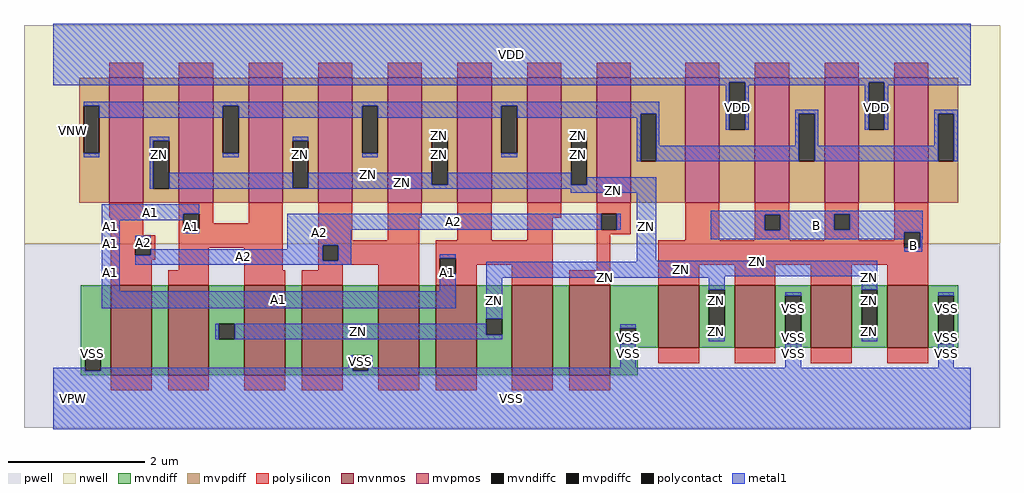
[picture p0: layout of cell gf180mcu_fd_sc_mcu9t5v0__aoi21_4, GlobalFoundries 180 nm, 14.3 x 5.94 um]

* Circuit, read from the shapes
.subckt gf180mcu_fd_sc_mcu9t5v0__aoi21_4 A1 A2 B ZN VDD VNW VPW VSS
XM1 n1 A2 VSS VPW nfet_06v0 w=1.32u l=0.6u
XM2 ZN A1 n1 VPW nfet_06v0 w=1.32u l=0.6u
XM3 n2 A1 ZN VPW nfet_06v0 w=1.32u l=0.6u
XM4 VSS A2 n2 VPW nfet_06v0 w=1.32u l=0.6u
XM5 n3 A2 VSS VPW nfet_06v0 w=1.32u l=0.6u
XM6 ZN A1 n3 VPW nfet_06v0 w=1.32u l=0.6u
XM7 n4 A1 ZN VPW nfet_06v0 w=1.32u l=0.6u
XM8 VSS A2 n4 VPW nfet_06v0 w=1.32u l=0.6u
XM9 ZN B VSS VPW nfet_06v0 w=0.92u l=0.6u m=4
XM10 ZN A2 n5 VNW pfet_06v0 w=1.83u l=0.5u m=4
XM11 n5 A1 ZN VNW pfet_06v0 w=1.83u l=0.5u m=4
XM12 VDD B n5 VNW pfet_06v0 w=1.83u l=0.5u m=4
.ends

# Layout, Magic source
magic
tech gf180mcuD
magscale 1 10
<< nwell >>
rect -86 453 2774 1094
<< pwell >>
rect -86 -86 2774 453
<< mvnmos >>
rect 168 68 288 332
rect 336 68 456 332
rect 560 68 680 332
rect 728 68 848 332
rect 952 68 1072 332
rect 1120 68 1240 332
rect 1344 68 1464 332
rect 1512 68 1632 332
rect 1772 148 1892 332
rect 1996 148 2116 332
rect 2220 148 2340 332
rect 2444 148 2564 332
<< mvpmos >>
rect 164 574 264 940
rect 368 574 468 940
rect 572 574 672 940
rect 776 574 876 940
rect 980 574 1080 940
rect 1184 574 1284 940
rect 1388 574 1488 940
rect 1592 574 1692 940
rect 1852 574 1952 940
rect 2056 574 2156 940
rect 2260 574 2360 940
rect 2464 574 2564 940
<< mvndiff >>
rect 80 127 168 332
rect 80 81 93 127
rect 139 81 168 127
rect 80 68 168 81
rect 288 68 336 332
rect 456 219 560 332
rect 456 173 485 219
rect 531 173 560 219
rect 456 68 560 173
rect 680 68 728 332
rect 848 127 952 332
rect 848 81 877 127
rect 923 81 952 127
rect 848 68 952 81
rect 1072 68 1120 332
rect 1240 233 1344 332
rect 1240 187 1269 233
rect 1315 187 1344 233
rect 1240 68 1344 187
rect 1464 68 1512 332
rect 1632 206 1772 332
rect 1632 160 1661 206
rect 1707 160 1772 206
rect 1632 148 1772 160
rect 1892 319 1996 332
rect 1892 179 1921 319
rect 1967 179 1996 319
rect 1892 148 1996 179
rect 2116 301 2220 332
rect 2116 161 2145 301
rect 2191 161 2220 301
rect 2116 148 2220 161
rect 2340 319 2444 332
rect 2340 179 2369 319
rect 2415 179 2444 319
rect 2340 148 2444 179
rect 2564 301 2652 332
rect 2564 161 2593 301
rect 2639 161 2652 301
rect 2564 148 2652 161
rect 1632 68 1712 148
<< mvpdiff >>
rect 76 858 164 940
rect 76 718 89 858
rect 135 718 164 858
rect 76 574 164 718
rect 264 755 368 940
rect 264 615 293 755
rect 339 615 368 755
rect 264 574 368 615
rect 468 858 572 940
rect 468 718 497 858
rect 543 718 572 858
rect 468 574 572 718
rect 672 756 776 940
rect 672 616 701 756
rect 747 616 776 756
rect 672 574 776 616
rect 876 858 980 940
rect 876 718 905 858
rect 951 718 980 858
rect 876 574 980 718
rect 1080 766 1184 940
rect 1080 626 1109 766
rect 1155 626 1184 766
rect 1080 574 1184 626
rect 1284 858 1388 940
rect 1284 718 1313 858
rect 1359 718 1388 858
rect 1284 574 1388 718
rect 1488 766 1592 940
rect 1488 626 1517 766
rect 1563 626 1592 766
rect 1488 574 1592 626
rect 1692 835 1852 940
rect 1692 695 1721 835
rect 1767 695 1852 835
rect 1692 574 1852 695
rect 1952 927 2056 940
rect 1952 787 1981 927
rect 2027 787 2056 927
rect 1952 574 2056 787
rect 2156 835 2260 940
rect 2156 695 2185 835
rect 2231 695 2260 835
rect 2156 574 2260 695
rect 2360 927 2464 940
rect 2360 787 2389 927
rect 2435 787 2464 927
rect 2360 574 2464 787
rect 2564 835 2652 940
rect 2564 695 2593 835
rect 2639 695 2652 835
rect 2564 574 2652 695
<< mvndiffc >>
rect 93 81 139 127
rect 485 173 531 219
rect 877 81 923 127
rect 1269 187 1315 233
rect 1661 160 1707 206
rect 1921 179 1967 319
rect 2145 161 2191 301
rect 2369 179 2415 319
rect 2593 161 2639 301
<< mvpdiffc >>
rect 89 718 135 858
rect 293 615 339 755
rect 497 718 543 858
rect 701 616 747 756
rect 905 718 951 858
rect 1109 626 1155 766
rect 1313 718 1359 858
rect 1517 626 1563 766
rect 1721 695 1767 835
rect 1981 787 2027 927
rect 2185 695 2231 835
rect 2389 787 2435 927
rect 2593 695 2639 835
<< polysilicon >>
rect 164 940 264 984
rect 368 940 468 984
rect 572 940 672 984
rect 776 940 876 984
rect 980 940 1080 984
rect 1184 940 1284 984
rect 1388 940 1488 984
rect 1592 940 1692 984
rect 1852 940 1952 984
rect 2056 940 2156 984
rect 2260 940 2360 984
rect 2464 940 2564 984
rect 164 530 264 574
rect 168 479 264 530
rect 368 541 468 574
rect 368 495 381 541
rect 427 514 468 541
rect 572 514 672 574
rect 427 495 672 514
rect 168 466 299 479
rect 168 420 240 466
rect 286 420 299 466
rect 168 407 299 420
rect 368 442 672 495
rect 168 332 288 407
rect 368 376 456 442
rect 336 332 456 376
rect 560 376 672 442
rect 776 464 876 574
rect 980 530 1080 574
rect 980 464 1072 530
rect 1184 464 1284 574
rect 1388 530 1488 574
rect 1592 541 1692 574
rect 1388 464 1464 530
rect 776 449 1072 464
rect 776 403 789 449
rect 835 403 1072 449
rect 776 392 1072 403
rect 776 376 848 392
rect 560 332 680 376
rect 728 332 848 376
rect 952 332 1072 392
rect 1120 411 1464 464
rect 1120 365 1133 411
rect 1179 392 1464 411
rect 1179 365 1240 392
rect 1120 332 1240 365
rect 1344 332 1464 392
rect 1592 495 1605 541
rect 1651 495 1692 541
rect 1592 482 1692 495
rect 1592 376 1632 482
rect 1852 464 1952 574
rect 2056 539 2156 574
rect 2056 493 2084 539
rect 2130 493 2156 539
rect 2056 464 2156 493
rect 2260 540 2360 574
rect 2260 494 2288 540
rect 2334 494 2360 540
rect 2260 464 2360 494
rect 2464 487 2564 574
rect 2464 464 2494 487
rect 1512 332 1632 376
rect 1772 441 2494 464
rect 2540 441 2564 487
rect 1772 392 2564 441
rect 1772 332 1892 392
rect 1996 332 2116 392
rect 2220 332 2340 392
rect 2444 332 2564 392
rect 1772 104 1892 148
rect 1996 104 2116 148
rect 2220 104 2340 148
rect 2444 104 2564 148
rect 168 24 288 68
rect 336 24 456 68
rect 560 24 680 68
rect 728 24 848 68
rect 952 24 1072 68
rect 1120 24 1240 68
rect 1344 24 1464 68
rect 1512 24 1632 68
<< polycontact >>
rect 381 495 427 541
rect 240 420 286 466
rect 789 403 835 449
rect 1133 365 1179 411
rect 1605 495 1651 541
rect 2084 493 2130 539
rect 2288 494 2334 540
rect 2494 441 2540 487
<< metal1 >>
rect 0 927 2688 1098
rect 0 918 1981 927
rect 89 858 1776 869
rect 135 823 497 858
rect 89 707 135 718
rect 282 755 339 767
rect 282 615 293 755
rect 543 823 905 858
rect 497 707 543 718
rect 701 756 747 767
rect 339 616 701 661
rect 951 823 1313 858
rect 905 707 951 718
rect 1109 766 1155 777
rect 747 626 1109 661
rect 1359 835 1776 858
rect 1359 823 1721 835
rect 1313 707 1359 718
rect 1517 766 1563 777
rect 1155 626 1517 661
rect 1710 695 1721 823
rect 1767 741 1776 835
rect 1970 787 1981 918
rect 2027 918 2389 927
rect 2027 787 2038 918
rect 2174 835 2242 846
rect 2174 741 2185 835
rect 1767 695 2185 741
rect 2231 741 2242 835
rect 2378 787 2389 918
rect 2435 918 2688 927
rect 2435 787 2446 918
rect 2582 835 2650 846
rect 2582 741 2593 835
rect 2231 695 2593 741
rect 2639 695 2650 835
rect 1563 626 1766 649
rect 747 616 1766 626
rect 339 615 1766 616
rect 1516 603 1766 615
rect 142 541 427 569
rect 142 523 381 541
rect 142 314 194 523
rect 381 484 427 495
rect 686 541 1662 542
rect 686 495 1605 541
rect 1651 495 1662 541
rect 240 466 286 477
rect 686 449 873 495
rect 686 438 789 449
rect 286 420 789 438
rect 240 403 789 420
rect 835 403 873 449
rect 240 392 873 403
rect 1133 411 1179 422
rect 1710 404 1766 603
rect 1926 540 2547 550
rect 1926 539 2288 540
rect 1926 493 2084 539
rect 2130 494 2288 539
rect 2334 494 2547 540
rect 2130 493 2547 494
rect 1926 487 2547 493
rect 1926 466 2494 487
rect 2540 466 2547 487
rect 2540 441 2546 466
rect 2494 430 2546 441
rect 1710 400 2415 404
rect 1133 314 1179 365
rect 142 265 1179 314
rect 1269 358 2415 400
rect 1269 354 1967 358
rect 1269 233 1315 354
rect 474 173 485 219
rect 531 187 1269 219
rect 1921 319 1967 354
rect 531 173 1315 187
rect 1661 206 1707 217
rect 2369 319 2415 358
rect 1921 168 1967 179
rect 2145 301 2191 312
rect 93 127 139 138
rect 0 81 93 90
rect 866 90 877 127
rect 139 81 877 90
rect 923 90 934 127
rect 1661 90 1707 160
rect 2369 168 2415 179
rect 2593 301 2639 312
rect 2145 90 2191 161
rect 2593 90 2639 161
rect 923 81 2688 90
rect 0 -90 2688 81
<< labels >>
flabel metal1 s 142 523 427 569 0 FreeSans 200 0 0 0 A1
port 1 nsew default input
flabel metal1 s 686 495 1662 542 0 FreeSans 200 0 0 0 A2
port 2 nsew default input
flabel metal1 s 1926 466 2547 550 0 FreeSans 200 0 0 0 B
port 3 nsew default input
flabel metal1 s 0 918 2688 1098 0 FreeSans 200 0 0 0 VDD
port 5 nsew power bidirectional abutment
flabel metal1 s 2593 217 2639 312 0 FreeSans 200 0 0 0 VSS
port 8 nsew ground bidirectional abutment
flabel metal1 s 1517 767 1563 777 0 FreeSans 200 0 0 0 ZN
port 4 nsew default output
flabel nwell s 10 734 110 834 0 FreeSans 400 0 0 0 VNW
port 6 nsew power bidirectional
flabel pwell s 10 -50 110 50 0 FreeSans 400 0 0 0 VPW
port 7 nsew ground bidirectional
rlabel metal1 s 381 484 427 523 1 A1
port 1 nsew default input
rlabel metal1 s 142 484 194 523 1 A1
port 1 nsew default input
rlabel metal1 s 142 422 194 484 1 A1
port 1 nsew default input
rlabel metal1 s 1133 314 1179 422 1 A1
port 1 nsew default input
rlabel metal1 s 142 314 194 422 1 A1
port 1 nsew default input
rlabel metal1 s 142 265 1179 314 1 A1
port 1 nsew default input
rlabel metal1 s 686 477 873 495 1 A2
port 2 nsew default input
rlabel metal1 s 686 438 873 477 1 A2
port 2 nsew default input
rlabel metal1 s 240 438 286 477 1 A2
port 2 nsew default input
rlabel metal1 s 240 392 873 438 1 A2
port 2 nsew default input
rlabel metal1 s 2494 430 2546 466 1 B
port 3 nsew default input
rlabel metal1 s 1109 767 1155 777 1 ZN
port 4 nsew default output
rlabel metal1 s 1517 661 1563 767 1 ZN
port 4 nsew default output
rlabel metal1 s 1109 661 1155 767 1 ZN
port 4 nsew default output
rlabel metal1 s 701 661 747 767 1 ZN
port 4 nsew default output
rlabel metal1 s 282 661 339 767 1 ZN
port 4 nsew default output
rlabel metal1 s 282 649 1563 661 1 ZN
port 4 nsew default output
rlabel metal1 s 282 615 1766 649 1 ZN
port 4 nsew default output
rlabel metal1 s 1516 603 1766 615 1 ZN
port 4 nsew default output
rlabel metal1 s 1710 404 1766 603 1 ZN
port 4 nsew default output
rlabel metal1 s 1710 400 2415 404 1 ZN
port 4 nsew default output
rlabel metal1 s 1269 358 2415 400 1 ZN
port 4 nsew default output
rlabel metal1 s 2369 354 2415 358 1 ZN
port 4 nsew default output
rlabel metal1 s 1269 354 1967 358 1 ZN
port 4 nsew default output
rlabel metal1 s 2369 219 2415 354 1 ZN
port 4 nsew default output
rlabel metal1 s 1921 219 1967 354 1 ZN
port 4 nsew default output
rlabel metal1 s 1269 219 1315 354 1 ZN
port 4 nsew default output
rlabel metal1 s 2369 173 2415 219 1 ZN
port 4 nsew default output
rlabel metal1 s 1921 173 1967 219 1 ZN
port 4 nsew default output
rlabel metal1 s 474 173 1315 219 1 ZN
port 4 nsew default output
rlabel metal1 s 2369 168 2415 173 1 ZN
port 4 nsew default output
rlabel metal1 s 1921 168 1967 173 1 ZN
port 4 nsew default output
rlabel metal1 s 2378 787 2446 918 1 VDD
port 5 nsew power bidirectional abutment
rlabel metal1 s 1970 787 2038 918 1 VDD
port 5 nsew power bidirectional abutment
rlabel metal1 s 2145 217 2191 312 1 VSS
port 8 nsew ground bidirectional abutment
rlabel metal1 s 2593 138 2639 217 1 VSS
port 8 nsew ground bidirectional abutment
rlabel metal1 s 2145 138 2191 217 1 VSS
port 8 nsew ground bidirectional abutment
rlabel metal1 s 1661 138 1707 217 1 VSS
port 8 nsew ground bidirectional abutment
rlabel metal1 s 2593 127 2639 138 1 VSS
port 8 nsew ground bidirectional abutment
rlabel metal1 s 2145 127 2191 138 1 VSS
port 8 nsew ground bidirectional abutment
rlabel metal1 s 1661 127 1707 138 1 VSS
port 8 nsew ground bidirectional abutment
rlabel metal1 s 93 127 139 138 1 VSS
port 8 nsew ground bidirectional abutment
rlabel metal1 s 2593 90 2639 127 1 VSS
port 8 nsew ground bidirectional abutment
rlabel metal1 s 2145 90 2191 127 1 VSS
port 8 nsew ground bidirectional abutment
rlabel metal1 s 1661 90 1707 127 1 VSS
port 8 nsew ground bidirectional abutment
rlabel metal1 s 866 90 934 127 1 VSS
port 8 nsew ground bidirectional abutment
rlabel metal1 s 93 90 139 127 1 VSS
port 8 nsew ground bidirectional abutment
rlabel metal1 s 0 -90 2688 90 1 VSS
port 8 nsew ground bidirectional abutment
<< properties >>
string FIXED_BBOX 0 0 2688 1008
string GDS_END 1181428
string GDS_FILE $PDKPATH/libs.ref/gf180mcu_fd_sc_mcu9t5v0/gds/gf180mcu_fd_sc_mcu9t5v0.gds
string GDS_START 1174770
string LEFclass core
string LEFsite GF018hv5v_green_sc9
string LEFsymmetry X Y
<< end >>
